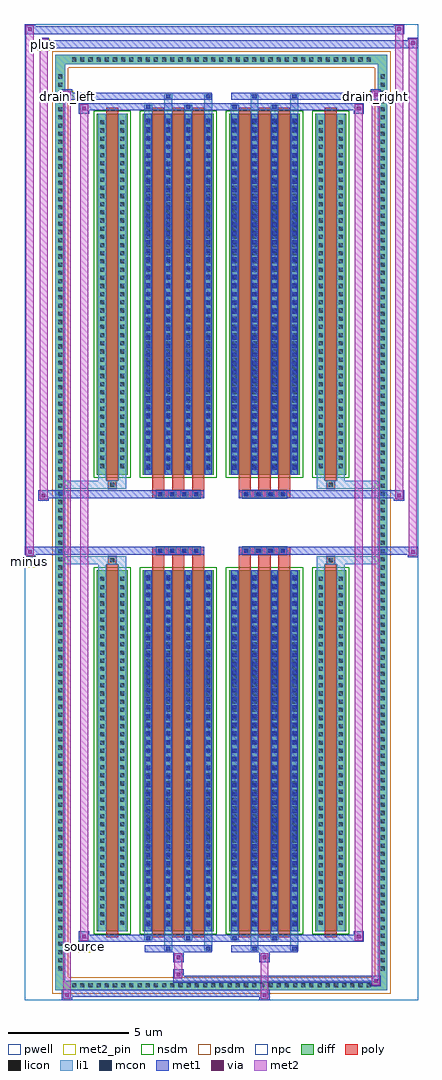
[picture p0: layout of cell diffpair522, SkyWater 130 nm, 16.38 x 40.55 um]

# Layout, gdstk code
import gdstk
lib = gdstk.Library(unit=1e-6, precision=5e-09)
def R(c, l, rs):  # rectangles x0, y0, x1, y1
    for r in rs: c.add(gdstk.rectangle(r[:2], r[2:], *l))
def A(c, l, x, y, w, h, nx, ny, dx, dy):  # array of equal rectangles
    R(c, l, [(x+i*dx, y+j*dy, x+i*dx+w, y+j*dy+h) for i in range(nx) for j in range(ny)])
def P(c, l, *ps):  # polygons
    for p in ps: c.add(gdstk.Polygon(p, *l))
pwell = (64, 44)
diff = (65, 20)
poly = (66, 20)
licon = (66, 44)
li1 = (67, 20)
mcon = (67, 44)
met1 = (68, 20)
via = (68, 44)
met2_pin = (69, 16)
met2 = (69, 20)
nsdm = (93, 44)
psdm = (94, 20)
npc = (95, 20)

diffpair522 = lib.new_cell('diffpair522')
R(diffpair522, pwell, [(-8.17,-19.84,8.17,20.71), (-5.49,-18.03,-0.01,-0.805), (0.01,-18.03,5.49,-0.805), (-5.49,0.805,-0.01,18.03), (0.01,0.805,5.49,18.03)])
A(diffpair522, diff, -6.325, -19.44, 0.41, 0.41, 37, 2, 0.34, 38.47)
A(diffpair522, diff, -6.9, -18.735, 0.41, 0.41, 1, 110, 0, 0.34)
A(diffpair522, diff, 6.49, -18.735, 0.41, 0.41, 1, 110, 0, 0.34)
R(diffpair522, diff, [(-6.325,-19.44,6.325,-19.03), (-6.9,-18.735,-6.49,18.735), (6.49,-18.735,6.9,18.735), (-5.18,-16.985,-3.9,-1.985), (-3.26,-16.985,-0.32,-1.985), (0.32,-16.985,3.26,-1.985), (3.9,-16.985,5.18,-1.985), (-5.18,1.985,-3.9,16.985), (-3.26,1.985,-0.32,16.985), (0.32,1.985,3.26,16.985), (3.9,1.985,5.18,16.985), (-6.325,19.03,6.325,19.44)])
P(diffpair522, diff, [(6.9,19.44),(-6.9,19.44),(-6.9,-19.03),(-6.49,-19.03),(-6.49,19.03),(6.49,19.03),(6.49,-19.03),(-6.49,-19.03),(-6.9,-19.03),(-6.9,-19.44),(6.9,-19.44)])
A(diffpair522, poly, -2.87, -17.235, 0.5, 15.5, 3, 2, 0.83, 18.97)
A(diffpair522, poly, 0.71, -17.235, 0.5, 15.5, 3, 2, 0.83, 18.97)
A(diffpair522, poly, -2.87, -1.735, 0.5, 0.4, 3, 2, 0.83, 3.07)
A(diffpair522, poly, 0.71, -1.735, 0.5, 0.4, 3, 2, 0.83, 3.07)
A(diffpair522, poly, -2.705, -1.335, 0.33, 0.33, 4, 2, 0.5, 2.34)
A(diffpair522, poly, 0.875, -1.335, 0.33, 0.33, 4, 2, 0.5, 2.34)
R(diffpair522, poly, [(-4.79,-17.235,-4.29,-1.735), (4.29,-17.235,4.79,-1.735), (-4.705,-1.735,-4.375,-1.405), (-4.705,-1.735,-4.375,-1.405), (4.375,-1.735,4.705,-1.405), (4.375,-1.735,4.705,-1.405), (-2.87,-1.335,-0.71,-1.005), (0.71,-1.335,2.87,-1.005), (-2.87,1.005,-0.71,1.335), (0.71,1.005,2.87,1.335), (-4.705,1.405,-4.375,1.735), (-4.705,1.405,-4.375,1.735), (4.375,1.405,4.705,1.735), (4.375,1.405,4.705,1.735), (-4.79,1.735,-4.29,17.235), (4.29,1.735,4.79,17.235)])
A(diffpair522, licon, -6.205, -19.32, 0.17, 0.17, 37, 2, 0.34, 38.47)
A(diffpair522, licon, -6.78, -18.615, 0.17, 0.17, 1, 110, 0, 0.34)
A(diffpair522, licon, 6.61, -18.615, 0.17, 0.17, 1, 110, 0, 0.34)
A(diffpair522, licon, -5.04, -16.71, 0.17, 0.17, 1, 43, 0, 0.34)
A(diffpair522, licon, -4.21, -16.71, 0.17, 0.17, 1, 43, 0, 0.34)
A(diffpair522, licon, -3.12, -16.71, 0.17, 0.17, 4, 43, 0.83, 0.34)
A(diffpair522, licon, 0.46, -16.71, 0.17, 0.17, 4, 43, 0.83, 0.34)
A(diffpair522, licon, 4.04, -16.71, 0.17, 0.17, 1, 43, 0, 0.34)
A(diffpair522, licon, 4.87, -16.71, 0.17, 0.17, 1, 43, 0, 0.34)
A(diffpair522, licon, -2.625, -1.255, 0.17, 0.17, 4, 2, 0.5, 2.34)
A(diffpair522, licon, 0.955, -1.255, 0.17, 0.17, 4, 2, 0.5, 2.34)
A(diffpair522, licon, -5.04, 2.26, 0.17, 0.17, 1, 43, 0, 0.34)
A(diffpair522, licon, -4.21, 2.26, 0.17, 0.17, 1, 43, 0, 0.34)
A(diffpair522, licon, -3.12, 2.26, 0.17, 0.17, 4, 43, 0.83, 0.34)
A(diffpair522, licon, 0.46, 2.26, 0.17, 0.17, 4, 43, 0.83, 0.34)
A(diffpair522, licon, 4.04, 2.26, 0.17, 0.17, 1, 43, 0, 0.34)
A(diffpair522, licon, 4.87, 2.26, 0.17, 0.17, 1, 43, 0, 0.34)
R(diffpair522, licon, [(-4.625,-1.655,-4.455,-1.485), (4.455,-1.655,4.625,-1.485), (-4.625,1.485,-4.455,1.655), (4.455,1.485,4.625,1.655)])
A(diffpair522, li1, -6.285, -19.4, 0.33, 0.33, 37, 2, 0.34, 38.47)
A(diffpair522, li1, -6.86, -18.695, 0.33, 0.33, 1, 110, 0, 0.34)
A(diffpair522, li1, 6.53, -18.695, 0.33, 0.33, 1, 110, 0, 0.34)
A(diffpair522, li1, -3.2, -16.985, 0.33, 15, 4, 2, 0.83, 18.97)
A(diffpair522, li1, 0.38, -16.985, 0.33, 15, 4, 2, 0.83, 18.97)
A(diffpair522, li1, -5.12, -16.79, 0.33, 0.33, 1, 43, 0, 0.34)
A(diffpair522, li1, -4.29, -16.79, 0.33, 0.33, 1, 43, 0, 0.34)
A(diffpair522, li1, -3.2, -16.79, 0.33, 0.33, 4, 43, 0.83, 0.34)
A(diffpair522, li1, 0.38, -16.79, 0.33, 0.33, 4, 43, 0.83, 0.34)
A(diffpair522, li1, 3.96, -16.79, 0.33, 0.33, 1, 43, 0, 0.34)
A(diffpair522, li1, 4.79, -16.79, 0.33, 0.33, 1, 43, 0, 0.34)
A(diffpair522, li1, -3.12, -16.77, 0.17, 0.17, 4, 41, 0.83, 0.36)
A(diffpair522, li1, -3.12, -16.77, 0.17, 14.57, 4, 2, 0.83, 18.97)
A(diffpair522, li1, 0.46, -16.77, 0.17, 0.17, 4, 41, 0.83, 0.36)
A(diffpair522, li1, 0.46, -16.77, 0.17, 14.57, 4, 2, 0.83, 18.97)
A(diffpair522, li1, -2.705, -1.335, 0.33, 0.33, 4, 2, 0.5, 2.34)
A(diffpair522, li1, 0.875, -1.335, 0.33, 0.33, 4, 2, 0.5, 2.34)
A(diffpair522, li1, -5.12, 2.18, 0.33, 0.33, 1, 43, 0, 0.34)
A(diffpair522, li1, -4.29, 2.18, 0.33, 0.33, 1, 43, 0, 0.34)
A(diffpair522, li1, -3.2, 2.18, 0.33, 0.33, 4, 43, 0.83, 0.34)
A(diffpair522, li1, 0.38, 2.18, 0.33, 0.33, 4, 43, 0.83, 0.34)
A(diffpair522, li1, 3.96, 2.18, 0.33, 0.33, 1, 43, 0, 0.34)
A(diffpair522, li1, 4.79, 2.18, 0.33, 0.33, 1, 43, 0, 0.34)
A(diffpair522, li1, -3.12, 2.2, 0.17, 0.17, 4, 41, 0.83, 0.36)
A(diffpair522, li1, 0.46, 2.2, 0.17, 0.17, 4, 41, 0.83, 0.36)
R(diffpair522, li1, [(-6.9,-19.44,-6.49,-19.03), (-6.9,-19.44,-6.49,-19.03), (-6.49,-19.44,6.49,-19.03), (6.49,-19.44,6.9,-19.03), (6.49,-19.44,6.9,-19.03), (-6.9,-19.03,-6.49,19.03), (6.49,-19.03,6.9,19.03), (-2.37,-17.79,-2.04,-16.985), (-2.29,-17.79,-2.12,-17.62), (-0.71,-17.79,-0.38,-16.985), (-0.63,-17.79,-0.46,-17.62), (1.21,-17.79,1.54,-16.985), (1.29,-17.79,1.46,-17.62), (2.87,-17.79,3.2,-16.985), (2.95,-17.79,3.12,-17.62), (-3.2,-17.36,-2.87,-16.985), (-3.12,-17.36,-2.95,-17.19), (-1.54,-17.36,-1.21,-16.985), (-1.46,-17.36,-1.29,-17.19), (0.38,-17.36,0.71,-16.985), (0.46,-17.36,0.63,-17.19), (2.04,-17.36,2.37,-16.985), (2.12,-17.36,2.29,-17.19), (-5.12,-16.985,-4.79,-1.985), (-4.29,-16.985,-3.96,-1.985), (3.96,-16.985,4.29,-1.985), (4.79,-16.985,5.12,-1.985), (-5.12,-1.985,-4.79,-1.405), (-4.29,-1.985,-3.96,-1.405), (3.96,-1.985,4.29,-1.405), (4.79,-1.985,5.12,-1.405), (-6.9,-1.735,-4.705,-1.405), (-5.12,-1.735,-4.705,-1.405), (-4.705,-1.735,-4.375,-1.405), (-4.375,-1.735,-3.96,-1.405), (3.96,-1.735,4.375,-1.405), (4.375,-1.735,4.705,-1.405), (4.375,-1.735,6.9,-1.405), (4.705,-1.735,5.12,-1.405), (-6.9,1.405,-4.705,1.735), (-5.12,1.405,-4.705,1.735), (-5.12,1.405,-4.79,1.985), (-4.705,1.405,-4.375,1.735), (-4.375,1.405,-3.96,1.735), (-4.29,1.405,-3.96,1.985), (3.96,1.405,4.375,1.735), (3.96,1.405,4.29,1.985), (4.375,1.405,4.705,1.735), (4.375,1.405,6.9,1.735), (4.705,1.405,5.12,1.735), (4.79,1.405,5.12,1.985), (-5.12,1.985,-4.79,16.985), (-4.29,1.985,-3.96,16.985), (3.96,1.985,4.29,16.985), (4.79,1.985,5.12,16.985), (-3.2,16.985,-2.87,17.36), (-2.37,16.985,-2.04,17.79), (-1.54,16.985,-1.21,17.36), (-0.71,16.985,-0.38,17.79), (0.38,16.985,0.71,17.36), (1.21,16.985,1.54,17.79), (2.04,16.985,2.37,17.36), (2.87,16.985,3.2,17.79), (-3.12,17.19,-2.95,17.36), (-1.46,17.19,-1.29,17.36), (0.46,17.19,0.63,17.36), (2.12,17.19,2.29,17.36), (-2.29,17.62,-2.12,17.79), (-0.63,17.62,-0.46,17.79), (1.29,17.62,1.46,17.79), (2.95,17.62,3.12,17.79), (-6.9,19.03,-6.49,19.44), (-6.9,19.03,-6.49,19.44), (-6.49,19.03,6.49,19.44), (6.49,19.03,6.9,19.44), (6.49,19.03,6.9,19.44)])
A(diffpair522, mcon, -3.12, -16.77, 0.17, 0.17, 4, 41, 0.83, 0.36)
A(diffpair522, mcon, 0.46, -16.77, 0.17, 0.17, 4, 41, 0.83, 0.36)
A(diffpair522, mcon, -2.625, -1.255, 0.17, 0.17, 4, 2, 0.5, 2.34)
A(diffpair522, mcon, 0.955, -1.255, 0.17, 0.17, 4, 2, 0.5, 2.34)
A(diffpair522, mcon, -3.12, 2.2, 0.17, 0.17, 4, 41, 0.83, 0.36)
A(diffpair522, mcon, 0.46, 2.2, 0.17, 0.17, 4, 41, 0.83, 0.36)
R(diffpair522, mcon, [(-2.29,-17.79,-2.12,-17.62), (-0.63,-17.79,-0.46,-17.62), (1.29,-17.79,1.46,-17.62), (2.95,-17.79,3.12,-17.62), (-3.12,-17.36,-2.95,-17.19), (-1.46,-17.36,-1.29,-17.19), (0.46,-17.36,0.63,-17.19), (2.12,-17.36,2.29,-17.19), (-3.12,17.19,-2.95,17.36), (-1.46,17.19,-1.29,17.36), (0.46,17.19,0.63,17.36), (2.12,17.19,2.29,17.36), (-2.29,17.62,-2.12,17.79), (-0.63,17.62,-0.46,17.79), (1.29,17.62,1.46,17.79), (2.95,17.62,3.12,17.79)])
A(diffpair522, met1, -3.18, -16.985, 0.29, 15, 4, 2, 0.83, 18.97)
A(diffpair522, met1, 0.4, -16.985, 0.29, 15, 4, 2, 0.83, 18.97)
A(diffpair522, met1, -3.18, -16.83, 0.29, 0.29, 4, 41, 0.83, 0.36)
A(diffpair522, met1, 0.4, -16.83, 0.29, 0.29, 4, 41, 0.83, 0.36)
A(diffpair522, met1, -2.685, -1.315, 0.29, 0.29, 4, 2, 0.5, 2.34)
A(diffpair522, met1, 0.895, -1.315, 0.29, 0.29, 4, 2, 0.5, 2.34)
A(diffpair522, met1, -3.18, 2.14, 0.29, 0.29, 4, 41, 0.83, 0.36)
A(diffpair522, met1, 0.4, 2.14, 0.29, 0.29, 4, 41, 0.83, 0.36)
R(diffpair522, met1, [(-6.63,-19.84,-6.2,-19.41), (1.575,-19.84,2.005,-19.41), (-6.63,-19.7,2.005,-19.41), (6.2,-19.27,6.63,-18.84), (-2.005,-19.13,6.63,-18.84), (-2.005,-18.99,-1.575,-18.56), (-2.005,-18.28,-1.575,-17.85), (1.575,-18.28,2.005,-17.85), (-3.18,-17.85,-0.4,-17.56), (-2.35,-17.85,-2.06,-17.56), (-0.69,-17.85,-0.4,-17.56), (0.4,-17.85,3.18,-17.56), (1.23,-17.85,1.52,-17.56), (2.89,-17.85,3.18,-17.56), (-5.92,-17.42,-5.49,-16.99), (-5.92,-17.42,-3.18,-17.13), (-3.18,-17.42,-2.89,-17.13), (-3.18,-17.42,-0.4,-17.13), (-1.52,-17.42,-1.23,-17.13), (-0.4,-17.42,0.4,-17.13), (0.4,-17.42,0.69,-17.13), (0.4,-17.42,3.18,-17.13), (2.06,-17.42,2.35,-17.13), (3.18,-17.42,5.92,-17.13), (5.49,-17.42,5.92,-16.99), (-8.17,-1.435,-7.74,-1.005), (7.74,-1.435,8.17,-1.005), (-8.17,-1.335,-0.71,-1.005), (-2.87,-1.335,-0.71,-1.005), (0.71,-1.335,2.87,-1.005), (0.71,-1.335,8.17,-1.005), (-7.6,0.905,-7.17,1.335), (7.17,0.905,7.6,1.335), (-7.6,1.005,-2.87,1.335), (-2.87,1.005,-0.71,1.335), (0.71,1.005,2.87,1.335), (2.87,1.005,7.6,1.335), (-5.92,16.99,-5.49,17.42), (5.49,16.99,5.92,17.42), (-5.92,17.13,-3.18,17.42), (-3.18,17.13,-2.89,17.42), (-3.18,17.13,-0.4,17.42), (-1.52,17.13,-1.23,17.42), (-0.4,17.13,0.4,17.42), (0.4,17.13,0.69,17.42), (0.4,17.13,3.18,17.42), (2.06,17.13,2.35,17.42), (3.18,17.13,5.92,17.42), (-6.63,17.56,-6.2,17.99), (-6.63,17.56,-3.18,17.85), (-3.18,17.56,-0.4,17.85), (-2.35,17.56,-2.06,17.85), (-0.69,17.56,-0.4,17.85), (0.4,17.56,3.18,17.85), (1.23,17.56,1.52,17.85), (2.89,17.56,3.18,17.85), (3.18,17.56,6.63,17.85), (6.2,17.56,6.63,17.99), (-7.6,19.71,-7.17,20.14), (-7.6,19.71,-5.49,20.04), (-5.49,19.71,5.49,20.04), (5.49,19.71,8.17,20.04), (7.74,19.71,8.17,20.14), (-8.17,20.28,-7.74,20.71), (-8.17,20.28,-5.49,20.61), (-5.49,20.28,5.49,20.61), (5.49,20.28,7.6,20.61), (7.17,20.28,7.6,20.71)])
R(diffpair522, via, [(-6.49,-19.7,-6.34,-19.55), (1.715,-19.7,1.865,-19.55), (6.34,-19.13,6.49,-18.98), (-1.865,-18.85,-1.715,-18.7), (-1.865,-18.14,-1.715,-17.99), (1.715,-18.14,1.865,-17.99), (-5.78,-17.28,-5.63,-17.13), (5.63,-17.28,5.78,-17.13), (-8.03,-1.295,-7.88,-1.145), (7.88,-1.295,8.03,-1.145), (-7.46,1.045,-7.31,1.195), (7.31,1.045,7.46,1.195), (-5.78,17.13,-5.63,17.28), (5.63,17.13,5.78,17.28), (-6.49,17.7,-6.34,17.85), (6.34,17.7,6.49,17.85), (-7.46,19.85,-7.31,20), (7.88,19.85,8.03,20), (-8.03,20.42,-7.88,20.57), (7.31,20.42,7.46,20.57)])
R(diffpair522, met2_pin, [(-5.955,-17.87,-5.455,-17.37), (-8.205,-1.885,-7.705,-1.385), (-6.665,17.44,-6.165,17.94), (6.165,17.44,6.665,17.94), (-7.635,19.59,-7.135,20.09)])
R(diffpair522, met2, [(-6.58,-19.79,-6.25,-19.46), (-6.58,-19.79,-6.25,17.94), (1.625,-19.79,1.955,-19.46), (1.625,-19.46,1.955,-18.23), (6.25,-19.22,6.58,-18.89), (6.25,-19.22,6.58,17.94), (-1.955,-18.94,-1.625,-18.61), (-1.955,-18.61,-1.625,-18.23), (-1.955,-18.23,-1.625,-17.9), (1.625,-18.23,1.955,-17.9), (-5.87,-17.37,-5.54,-17.04), (-5.87,-17.37,-5.54,17.37), (5.54,-17.37,5.87,-17.04), (5.54,-17.37,5.87,17.37), (-8.12,-1.385,-7.79,-1.055), (-8.12,-1.385,-7.79,20.66), (7.79,-1.385,8.12,-1.055), (7.79,-1.385,8.12,20.09), (-7.55,0.955,-7.22,1.285), (-7.55,0.955,-7.22,20.09), (7.22,0.955,7.55,1.285), (7.22,0.955,7.55,20.66), (-5.87,17.04,-5.54,17.37), (5.54,17.04,5.87,17.37), (-6.58,17.61,-6.25,17.94), (6.25,17.61,6.58,17.94), (-7.55,19.76,-7.22,20.09), (7.79,19.76,8.12,20.09), (-8.12,20.33,-7.79,20.66), (7.22,20.33,7.55,20.66)])
P(diffpair522, met2, [(8.12,-1.385),(8.12,-1.385),(8.12,-1.055),(8.12,-1.055)],
  [(8.12,19.76),(8.12,19.76),(8.12,20.09),(8.12,20.09)],
  [(-7.79,-1.385),(-7.79,-1.385),(-7.79,-1.055),(-7.79,-1.055)],
  [(-7.79,20.33),(-7.79,20.33),(-7.79,20.66),(-7.79,20.66)],
  [(7.55,0.955),(7.55,0.955),(7.55,1.285),(7.55,1.285)],
  [(7.55,20.33),(7.55,20.33),(7.55,20.66),(7.55,20.66)],
  [(-7.22,0.955),(-7.22,0.955),(-7.22,1.285),(-7.22,1.285)],
  [(-7.22,19.76),(-7.22,19.76),(-7.22,20.09),(-7.22,20.09)],
  [(-6.25,-19.79),(-6.25,-19.79),(-6.25,-19.46),(-6.25,-19.46)],
  [(-6.25,17.61),(-6.25,17.61),(-6.25,17.94),(-6.25,17.94)],
  [(6.58,-19.22),(6.58,-19.22),(6.58,-18.89),(6.58,-18.89)],
  [(6.58,17.61),(6.58,17.61),(6.58,17.94),(6.58,17.94)],
  [(-5.54,-17.37),(-5.54,-17.37),(-5.54,-17.04),(-5.54,-17.04)],
  [(-5.54,17.04),(-5.54,17.04),(-5.54,17.37),(-5.54,17.37)],
  [(5.87,-17.37),(5.87,-17.37),(5.87,-17.04),(5.87,-17.04)],
  [(5.87,17.04),(5.87,17.04),(5.87,17.37),(5.87,17.37)])
R(diffpair522, nsdm, [(-5.31,-17.115,-3.77,-1.855), (-3.39,-17.115,-0.19,-1.855), (0.19,-17.115,3.39,-1.855), (3.77,-17.115,5.31,-1.855), (-5.31,1.855,-3.77,17.115), (-3.39,1.855,-0.19,17.115), (0.19,1.855,3.39,17.115), (3.77,1.855,5.31,17.115)])
P(diffpair522, psdm, [(7.03,19.57),(-7.03,19.57),(-7.03,-18.9),(-6.36,-18.9),(-6.36,18.9),(6.36,18.9),(6.36,-18.9),(-6.36,-18.9),(-7.03,-18.9),(-7.03,-19.57),(7.03,-19.57)])
A(diffpair522, npc, -2.725, -1.355, 0.37, 0.37, 4, 2, 0.5, 2.34)
A(diffpair522, npc, 0.855, -1.355, 0.37, 0.37, 4, 2, 0.5, 2.34)
R(diffpair522, npc, [(-4.725,-1.755,-4.355,-1.385), (4.355,-1.755,4.725,-1.385), (-2.725,-1.355,-1.855,-0.985), (-2.725,-1.355,-1.855,-0.985), (-2.225,-1.355,-1.355,-0.985), (-2.225,-1.355,-1.355,-0.985), (-1.725,-1.355,-0.855,-0.985), (-1.725,-1.355,-0.855,-0.985), (0.855,-1.355,1.725,-0.985), (0.855,-1.355,1.725,-0.985), (1.355,-1.355,2.225,-0.985), (1.355,-1.355,2.225,-0.985), (1.855,-1.355,2.725,-0.985), (1.855,-1.355,2.725,-0.985), (-2.725,0.985,-1.855,1.355), (-2.725,0.985,-1.855,1.355), (-2.225,0.985,-1.355,1.355), (-2.225,0.985,-1.355,1.355), (-1.725,0.985,-0.855,1.355), (-1.725,0.985,-0.855,1.355), (0.855,0.985,1.725,1.355), (0.855,0.985,1.725,1.355), (1.355,0.985,2.225,1.355), (1.355,0.985,2.225,1.355), (1.855,0.985,2.725,1.355), (1.855,0.985,2.725,1.355), (-4.725,1.385,-4.355,1.755), (4.355,1.385,4.725,1.755)])
diffpair522.add(gdstk.Label('minus', (-7.955,-1.635), layer=69, texttype=5))
diffpair522.add(gdstk.Label('drain_right', (6.415,17.69), layer=69, texttype=5))
diffpair522.add(gdstk.Label('drain_left', (-6.415,17.69), layer=69, texttype=5))
diffpair522.add(gdstk.Label('source', (-5.705,-17.62), layer=69, texttype=5))
diffpair522.add(gdstk.Label('plus', (-7.385,19.84), layer=69, texttype=5))

lib.write_gds('diffpair522.gds')
